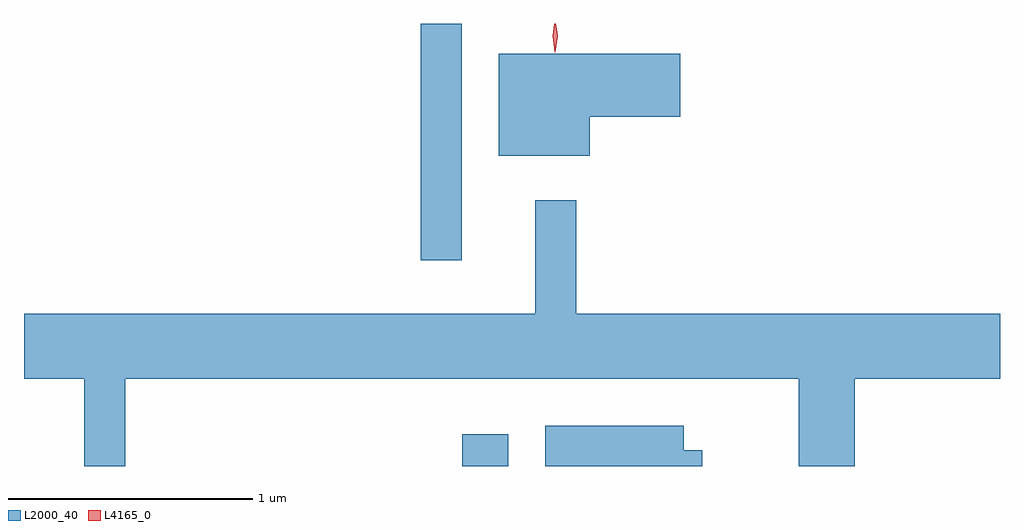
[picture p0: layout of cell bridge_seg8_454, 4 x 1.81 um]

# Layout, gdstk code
import gdstk
lib = gdstk.Library(unit=1e-6, precision=1e-09)
def R(c, l, rs):  # rectangles x0, y0, x1, y1
    for r in rs: c.add(gdstk.rectangle(r[:2], r[2:], *l))
def P(c, l, *ps):  # polygons
    for p in ps: c.add(gdstk.Polygon(p, *l))
L2000_40 = (2000, 40)
L4165_0 = (4165, 0)

bridge_seg8_454 = lib.new_cell('bridge_seg8_454')
R(bridge_seg8_454, L2000_40, [(562.401,1942.618,562.589,1942.749), (562.231,1943.463,562.399,1944.432)])
P(bridge_seg8_454, L2000_40, [(562.924,1944.051),(563.294,1944.051),(563.294,1944.309),(562.551,1944.309),(562.551,1943.891),(562.924,1943.891)],
  [(562.701,1943.708),(562.701,1943.244),(560.605,1943.244),(560.605,1942.976),(560.851,1942.976),(560.851,1942.618),(561.019,1942.618),(561.019,1942.976),(563.781,1942.976),(563.781,1942.618),(564.009,1942.618),(564.009,1942.976),(564.605,1942.976),(564.605,1943.244),(562.869,1943.244),(562.869,1943.708)],
  [(563.384,1942.684),(563.309,1942.684),(563.309,1942.784),(562.741,1942.784),(562.741,1942.618),(563.384,1942.618)])
P(bridge_seg8_454, L4165_0, [(562.781,1944.314),(562.772,1944.382),(562.779,1944.432),(562.785,1944.432),(562.792,1944.382),(562.782,1944.314)],
  [(562.781,1944.32),(562.78,1944.321),(562.772,1944.384),(562.78,1944.432),(562.785,1944.432),(562.792,1944.384),(562.782,1944.321)])

lib.write_gds('bridge_seg8_454.gds')
